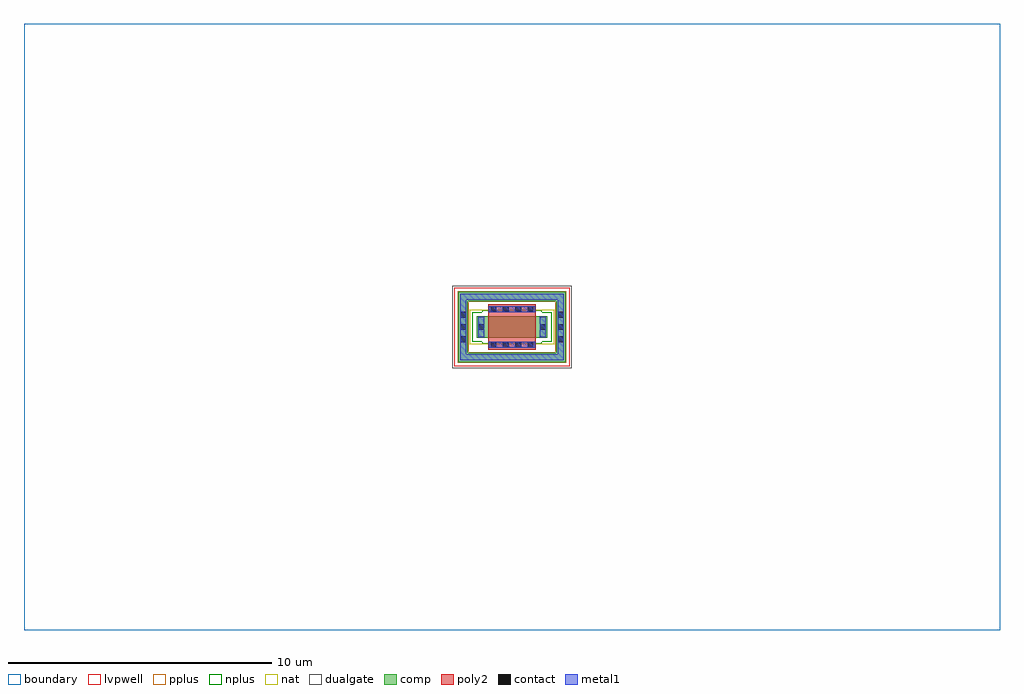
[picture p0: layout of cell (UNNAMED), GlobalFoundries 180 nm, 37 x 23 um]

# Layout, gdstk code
import gdstk
lib = gdstk.Library(unit=1e-6, precision=1e-09)
def R(c, l, rs):  # rectangles x0, y0, x1, y1
    for r in rs: c.add(gdstk.rectangle(r[:2], r[2:], *l))
def A(c, l, x, y, w, h, nx, ny, dx, dy):  # array of equal rectangles
    R(c, l, [(x+i*dx, y+j*dy, x+i*dx+w, y+j*dy+h) for i in range(nx) for j in range(ny)])
boundary = (0, 0)
nat = (5, 0)
comp = (22, 0)
poly2 = (30, 0)
pplus = (31, 0)
nplus = (32, 0)
contact = (33, 0)
metal1 = (34, 0)
dualgate = (55, 0)
lvpwell = (204, 0)

c__unnamed_ = lib.new_cell('(UNNAMED)')
R(c__unnamed_, boundary, [(-18.5,-11.5,18.5,11.5)])
R(c__unnamed_, nat, [(-1.6,-0.66,1.6,0.66)])
R(c__unnamed_, comp, [(-2.03,-1.33,2.03,-0.97), (-2.03,-0.97,-1.67,0.97), (1.67,-0.97,2.03,0.97), (-1.34,-0.4,1.34,0.4), (-2.03,0.97,2.03,1.33)])
R(c__unnamed_, poly2, [(-0.9,-0.86,0.9,0.86)])
R(c__unnamed_, pplus, [(-2.05,-1.35,2.05,-0.95), (-2.05,-0.95,-1.64,-0.845), (1.64,-0.95,2.05,-0.845), (-2.06,-0.845,-1.64,0.845), (1.64,-0.845,2.06,0.845), (-2.05,0.845,-1.64,0.95), (1.64,0.845,2.05,0.95), (-2.05,0.95,2.05,1.35)])
R(c__unnamed_, nplus, [(-1.13,-0.63,1.13,-0.56), (-1.5,-0.56,1.5,0.56), (-1.13,0.56,1.13,0.63)])
A(c__unnamed_, contact, -0.815, -0.79, 0.22, 0.22, 4, 2, 0.47, 1.36)
A(c__unnamed_, contact, -1.96, -0.58, 0.22, 0.22, 1, 3, 0, 0.47)
A(c__unnamed_, contact, 1.74, -0.58, 0.22, 0.22, 1, 3, 0, 0.47)
R(c__unnamed_, contact, [(-1.27,-0.11,-1.05,0.11), (1.05,-0.11,1.27,0.11)])
R(c__unnamed_, metal1, [(-1.965,-1.265,1.965,-1.035), (-1.965,-1.035,-1.735,1.035), (1.735,-1.035,1.965,1.035), (-0.89,-0.795,0.89,-0.565), (-1.275,-0.39,-1.045,0.39), (1.045,-0.39,1.275,0.39), (-0.89,0.565,0.89,0.795), (-1.965,1.035,1.965,1.265)])
R(c__unnamed_, dualgate, [(-2.27,-1.57,2.27,1.57)])
R(c__unnamed_, lvpwell, [(-2.19,-1.49,2.19,1.49)])

lib.write_gds('_UNNAMED_.gds')
